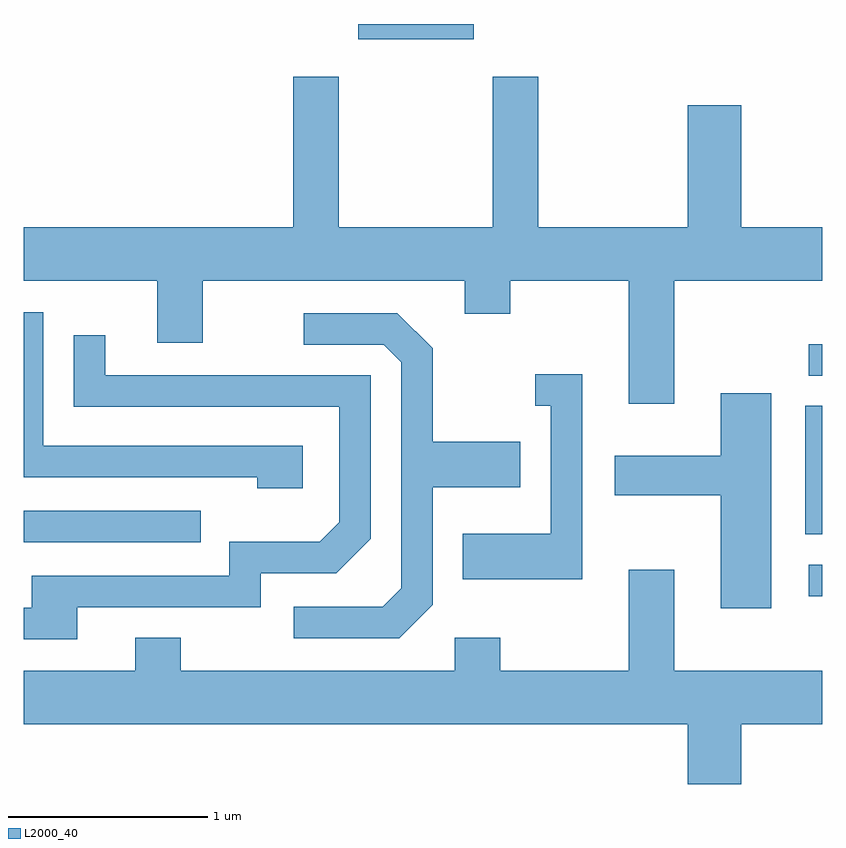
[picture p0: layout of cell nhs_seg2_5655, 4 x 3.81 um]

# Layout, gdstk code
import gdstk
lib = gdstk.Library(unit=1e-6, precision=1e-09)
def R(c, l, rs):  # rectangles x0, y0, x1, y1
    for r in rs: c.add(gdstk.rectangle(r[:2], r[2:], *l))
def P(c, l, *ps):  # polygons
    for p in ps: c.add(gdstk.Polygon(p, *l))
L2000_40 = (2000, 40)

nhs_seg2_5655 = lib.new_cell('nhs_seg2_5655')
R(nhs_seg2_5655, L2000_40, [(355.543,1068.936,355.611,1069.094), (351.611,1069.206,352.498,1069.364), (355.526,1069.246,355.611,1069.889), (355.543,1070.041,355.611,1070.199), (353.286,1071.726,353.864,1071.802)])
P(nhs_seg2_5655, L2000_40, [(354.189,1071.539),(353.961,1071.539),(353.961,1070.784),(353.189,1070.784),(353.189,1071.539),(352.961,1071.539),(352.961,1070.784),(351.611,1070.784),(351.611,1070.516),(352.281,1070.516),(352.281,1070.206),(352.509,1070.206),(352.509,1070.516),(353.821,1070.516),(353.821,1070.351),(354.049,1070.351),(354.049,1070.516),(354.641,1070.516),(354.641,1069.901),(354.869,1069.901),(354.869,1070.516),(355.611,1070.516),(355.611,1070.784),(355.204,1070.784),(355.204,1071.394),(354.936,1071.394),(354.936,1070.784),(354.189,1070.784)],
  [(353.009,1069.689),(351.709,1069.689),(351.709,1070.359),(351.611,1070.359),(351.611,1069.531),(352.781,1069.531),(352.781,1069.476),(353.009,1069.476)],
  [(353.659,1068.894),(353.659,1069.481),(354.099,1069.481),(354.099,1069.709),(353.659,1069.709),(353.659,1070.177),(353.482,1070.354),(353.013,1070.354),(353.013,1070.196),(353.414,1070.196),(353.501,1070.109),(353.501,1068.977),(353.409,1068.884),(352.963,1068.884),(352.963,1068.726),(353.492,1068.726)],
  [(351.879,1068.881),(352.799,1068.881),(352.799,1069.051),(353.177,1069.051),(353.349,1069.224),(353.349,1070.044),(352.019,1070.044),(352.019,1070.243),(351.861,1070.243),(351.861,1069.886),(353.191,1069.886),(353.191,1069.307),(353.094,1069.209),(352.641,1069.209),(352.641,1069.039),(351.651,1069.039),(351.651,1068.879),(351.611,1068.879),(351.611,1068.721),(351.879,1068.721)],
  [(354.409,1070.049),(354.173,1070.049),(354.173,1069.891),(354.251,1069.891),(354.251,1069.249),(353.811,1069.249),(353.811,1069.021),(354.409,1069.021)],
  [(355.354,1069.954),(355.101,1069.954),(355.101,1069.639),(354.571,1069.639),(354.571,1069.441),(355.101,1069.441),(355.101,1068.876),(355.354,1068.876)],
  [(355.204,1068.296),(355.611,1068.296),(355.611,1068.564),(354.869,1068.564),(354.869,1069.069),(354.641,1069.069),(354.641,1068.564),(353.999,1068.564),(353.999,1068.729),(353.771,1068.729),(353.771,1068.564),(352.399,1068.564),(352.399,1068.729),(352.171,1068.729),(352.171,1068.564),(351.611,1068.564),(351.611,1068.296),(354.936,1068.296),(354.936,1067.996),(355.204,1067.996)])

lib.write_gds('nhs_seg2_5655.gds')
